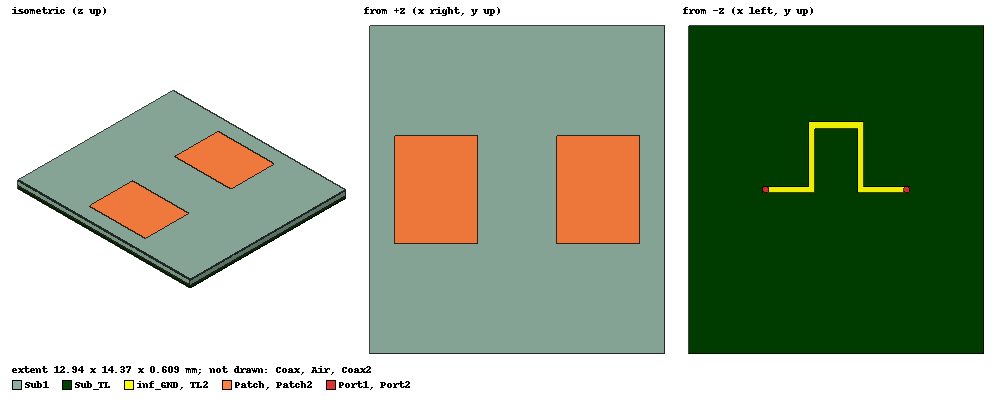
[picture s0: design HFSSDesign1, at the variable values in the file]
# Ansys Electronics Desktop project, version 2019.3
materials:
  vacuum: permittivity=1
  Rogers RT/duroid 5880 (tm): permittivity=2.2 dielectric_loss_tangent=0.0009
  pec: conductivity=1e+30
  Rogers RO4003 (tm): permittivity=3.55 dielectric_loss_tangent=0.0027

design HFSSDesign1 (HFSS, DrivenTerminal, model units mm)
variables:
  Lp = 3.63mm
  Wp = 4.7mm
  hs = 0.406mm
  Ws = 12.240310345*hs+Wp*2
  Ls = 14*hs+Lp*2
  xsub = -Ls/2
  ysub = -Ws/2
  xfeed = 1.33mm
  dp = 3.5mm
  rcoax = 0.14mm
  hcoax = 0.203mm
  rprope = 0.07mm
  Lair = 0.01+Ls
  Wair = 0.01+Ws
  xair = Lair/2
  yair = Wair/2
  hair = 5mm
  yfeed = 0mm
  xp = dp/2
  yp = -Wp/2
  Wp2 = 12*hs+Wp*2
  hgnd = -0.032mm
  X_TL_1 = 2.288307mm
  Y_TL_1 = 0.276146mm
  Y_TL_vertical = 3.105225mm
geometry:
  Sub1 [Rogers RO4003 (tm)] = box(corner=(xsub, ysub, 0mm), size=(Ls, Ws, hs))
  Patch [Rogers RT/duroid 5880 (tm)] = rectangle(corner=(xp, yp, hs), x_size=Lp, y_size=Wp)
  Coax [vacuum] = cylinder(axis=Z, base_centre=(xp+xfeed, yfeed, 0mm), radius=rcoax, height=-hcoax)
  Coax_Pin [pec] = cylinder(axis=Z, base_centre=(xp+xfeed, yfeed, 0mm), radius=rprope, height=-hcoax)
  Port1 [pec] = circle(normal=Z, centre=(xp+xfeed, yfeed, -hcoax), radius=rcoax)
  Prope [pec] = cylinder(axis=Z, base_centre=(xp+xfeed, yfeed, 0mm), radius=rprope, height=hs)
  Air [vacuum] = box(corner=(-xair, -yair, 0), size=(Lair, Wair, hair))
  Patch2 = rectangle(corner=(xp-Lp-dp, yp, hs), x_size=Lp, y_size=Wp)
  Coax2 [vacuum] = cylinder(axis=Z, base_centre=(-(xp+xfeed), yfeed, 0mm), radius=rcoax, height=-hcoax)
  Coax_Pin2 [pec] = cylinder(axis=Z, base_centre=(-(xp+xfeed), yfeed, 0mm), radius=rprope, height=-hcoax)
  Port2 [pec] = circle(normal=Z, centre=(-(xp+xfeed), yfeed, -hcoax), radius=rcoax)
  Prope2 [pec] = cylinder(axis=Z, base_centre=(-(xp+xfeed), yfeed, 0mm), radius=rprope, height=hs)
  inf_GND [pec] = box(corner=(xsub, ysub, 0mm), size=(Ls, Ws, hgnd))
  Cylinder_cut_2 = cylinder(axis=Z, base_centre=(-(xp+xfeed), yfeed, 0), radius=rcoax, height=hgnd)
  Cylinder_cut_1 = cylinder(axis=Z, base_centre=(xp+xfeed, yfeed, 0), radius=rcoax, height=hgnd)
  inf_GND.subtract(Cylinder_cut_1)
  inf_GND.subtract(Cylinder_cut_2)
  Sub_TL [Rogers RO4003 (tm)] = box(corner=(xsub, ysub, 0mm), size=(Ls, Ws, -0.203mm))
  TL1 = rectangle(corner=(-3.23mm, -0.14mm, -0.203mm), x_size=X_TL_1, y_size=Y_TL_1)
  TL2 [pec] = rectangle(corner=((-3.26+4.2) mm, -0.14mm, -0.203mm), x_size=X_TL_1, y_size=Y_TL_1)
  TL3 [pec] = rectangle(corner=(-(0.45407/2) mm, 0mm, -0.203mm), x_size=0.45407mm, y_size=4.494783mm)
  vertical_R = rectangle(corner=(0.94mm, -0.14mm, -0.203mm), x_size=0.276146mm, y_size=Y_TL_vertical)
  vertiacal_L = rectangle(corner=(-0.941693mm, -0.14mm, -0.203mm), x_size=0.276146mm, y_size=Y_TL_vertical)
  vertiacal_L.move(-0.8mm, 0mm, 0mm)
  vertiacal_L.move(0.52mm, 0mm, 0mm)
  tL_horizontal = rectangle(corner=(-1.221693mm, 2.965225mm, -0.203mm), x_size=2.437693mm, y_size=0.276146mm)
  tL_horizontal.move(0mm, -0.6mm, 0mm)
  tL_horizontal.move(0mm, 0.325mm, 0mm)
  TL1.unite(vertiacal_L)
  TL2.unite(vertical_R)
  TL3.move(-4mm, 0mm, 0mm)
  TL3.move(1mm, 1mm, 0mm)
  TL3.move(2.29593mm, 2.005217mm, 0.203mm)
  TL3.move(0.7mm, -0.405217mm, 0mm)
  TL3.move(0.0135175mm, 0.2mm, 0mm)
  TL3.move(0mm, 0mm, 0mm)
  TL3.move(0mm, 0.3mm, 0mm)
  TL3.move(-0.0064825mm, -0.02mm, 0mm)
  TL3.move(0mm, -0.02mm, 0mm)
  TL3.move(0mm, 0.012mm, 0mm)
  TL3.move(-0.007035mm, -0.372mm, 0mm)
  TL3.move(0.005mm, -0.01mm, 0mm)
  TL3.move(0mm, 0mm, 0mm)
  TL2.unite(tL_horizontal)
  TL2.unite(TL1)
  Rectangle1 = rectangle(corner=(0.2mm, 2.8mm, 0mm), x_size=-0.6mm, y_size=1.4mm)
  group Input_feed1 = Coax, Coax_Pin, Port1, Prope
  group Input_feed2 = Coax2, Coax_Pin2, Port2, Prope2
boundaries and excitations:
  PerfE_Patch: Perfect E Objects=Patch
  Rad1: Radiation Faces=Air.face(+x, +y, -y, -x, +z)
  PerfE1: Perfect E Objects=Patch2
  PerfE_TL: Perfect E Objects=TL2
  PerfE2: Perfect E Objects=TL3
  Coax_Pin_T1: Terminal port=1 Faces=Coax_Pin.face(2 of 3) TerminalResistance=50ohm
  Coax_Pin2_T1: Terminal port=2 Faces=Coax_Pin2.face(2 of 3) TerminalResistance=50ohm
  1: Wave Port Faces=Port1.face NumModes=1
  2: Wave Port Faces=Port2.face NumModes=1
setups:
  Setup1: HfssDriven Frequency=20GHz MaxDeltaS=0.02 MaximumPasses=18 MinimumPasses=1 MinimumConvergedPasses=1 PercentRefinement=30 BasisOrder=1 PortAccuracy=2
    sweep Sweep: 17GHz to 23GHz step 0.1GHz; Type=Fast SaveFields SaveRadFields GenerateFieldsForAllFreqs
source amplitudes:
  1:1: 1V 0deg
  2:1: 0V 0deg
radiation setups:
  e_plane: Infinite Sphere Theta=-180deg..180deg step 2deg Phi=0deg..0deg step 1deg
  h_plane: Infinite Sphere Theta=-180deg..180deg step 2deg Phi=90deg..90deg step 1deg
  3d: Infinite Sphere Theta=-180deg..180deg step 2deg Phi=0deg..360deg step 2deg
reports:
  Zin: mag(Zt(Coax_Pin_T1,Coax_Pin_T1)) vs Freq on Setup1 : Sweep; markers MX1 at x=2e+10
  Eradation_pattern: abs(rETotal) vs Theta on Setup1 : LastAdaptive, e_plane [Phi=all Freq=20GHz]
  Hradation_pattern: abs(rETotal) vs Theta on Setup1 : LastAdaptive, h_plane [Phi=all Freq=20GHz]
  Co_X_graph: dB10normalize(GainPhi), dB10normalize(GainTheta) vs Theta on Setup1 : LastAdaptive, e_plane [Phi=0deg Freq=20GHz]
  Terminal Z Parameter Plot 1: mag(Zt(Coax_Pin2_T1,Coax_Pin2_T1)) vs Freq on Setup1 : Sweep; markers MX1 at x=2e+10
  Terminal S Parameter Plot 3: dB(St(Coax_Pin_T1,Coax_Pin_T1)) vs Freq on Setup1 : Sweep; markers m1 at 19GHz, MX1 at x=2.0152225e+10, MX2 at x=1.9847775e+10
  Gain Plot 1: GainTotal vs Theta on Setup1 : LastAdaptive, e_plane [Phi=all Freq=20GHz dp=all]
  Terminal S Parameter Plot 4: dB(St(Coax_Pin_T1,Coax_Pin_T1)) vs Freq on Setup1 : Sweep
  rE Plot 1: dB(rETotal) vs Phi, Theta on Setup1 : LastAdaptive, 3d [Freq=20GHz dp=1mm]
  rE Plot 2: abs(rETotal) vs Phi, Theta on Setup1 : LastAdaptive, 3d [Freq=20GHz dp=1mm]
  rE Plot 3: abs(rETotal) vs Phi, Theta on Setup1 : LastAdaptive, 3d [Freq=20GHz dp=1mm]
  Terminal S Parameter Plot 5: dB(St(Coax_Pin_T1,Coax_Pin_T1)) vs Freq on Setup1 : Sweep [dp=all]
  Gain Plot 2: dB(GainTotal) vs Phi, Theta on Setup1 : LastAdaptive, 3d [Freq=20GHz dp=1mm]
  rE Plot 4: rETotal vs Phi, Theta on Setup1 : LastAdaptive, 3d [Freq=20GHz dp=1mm]
  rE Plot 5: rETotal vs Phi, Theta on Setup1 : LastAdaptive, 3d [Freq=20GHz dp=1mm]
  rE Plot 6: mag(rETheta) vs Phi, Theta on Setup1 : LastAdaptive, 3d [Freq=20GHz dp=1mm]
  Terminal S Parameter Plot 6: dB(St(Coax_Pin_T1,Coax_Pin_T1)) vs Freq on Setup1 : Sweep [hs=all dp=all]
  rE Plot 7: rETotal vs Phi, Theta on Setup1 : LastAdaptive, 3d [Freq=20GHz hs=0.406mm dp=1mm]
  rE Plot 8: dB(rEX) vs Phi, Theta on Setup1 : LastAdaptive, 3d [Freq=20GHz hs=0.406mm dp=1mm]
  Terminal S Parameter Plot 7: dB(St(Coax_Pin_T1,Coax_Pin_T1)) vs Freq on Setup1 : Sweep [Lp=all Wp=all hs=all dp=all hcoax=all]
  Terminal S Parameter Plot 8: dB(St(Coax_Pin_T1,Coax_Pin_T1)) vs Freq on Setup1 : Sweep [Lp=all Wp=all hs=all dp=all hcoax=all]
  Terminal S Parameter Plot 9: dB(St(Coax_Pin_T1,Coax_Pin_T1)) vs Freq on Setup1 : Sweep
  rE Plot 9: dB(rETotal) vs Phi, Theta on Setup1 : LastAdaptive, 3d [Freq=20GHz]
  Directivity Plot 1: dB(DirTotal) vs Phi, Theta on Setup1 : LastAdaptive, 3d [Freq=20GHz]
  Gain Plot 3: dB(GainTotal) vs Phi, Theta on Setup1 : LastAdaptive, 3d [Freq=20GHz]
  Terminal S Parameter Plot 10: dB(St(Coax_Pin_T1,Coax_Pin_T1)) vs Freq on Setup1 : Sweep
  rE Plot 10: dB(rETotal) vs Phi, Theta on Setup1 : LastAdaptive, 3d [Freq=20GHz]
  Terminal Z Parameter Plot 2: dB20(Zt(Coax_Pin_T1,Coax_Pin_T1)) vs Freq on Setup1 : Sweep; markers MX1 at x=2.0004274e+10, MY1 at y=20
  Terminal Z Parameter Plot 3: mag(Zt(Coax_Pin2_T1,Coax_Pin2_T1)) vs Freq on Setup1 : Sweep; markers MX1 at x=2.0002111e+10
  Terminal Z Parameter Plot 4: mag(Zt(Coax_Pin_T1,Coax_Pin_T1)) vs Freq on Setup1 : Sweep; markers MX1 at x=1.9997889e+10
  rE Plot 11: rETotal vs Phi, Theta on Setup1 : LastAdaptive, 3d [Freq=20GHz]
  Terminal S Parameter Plot 11: dB(St(Coax_Pin_T1,Coax_Pin_T1)) vs Freq on Setup1 : Sweep
  Terminal Z Parameter Plot 5: mag(Zt(Coax_Pin_T1,Coax_Pin_T1)) vs Freq on Setup1 : Sweep
